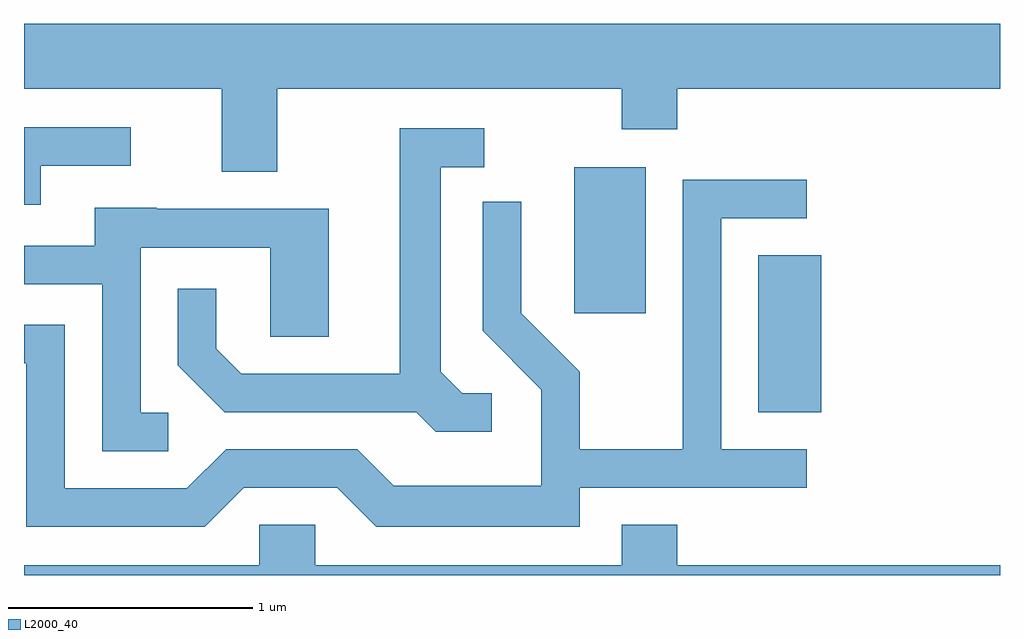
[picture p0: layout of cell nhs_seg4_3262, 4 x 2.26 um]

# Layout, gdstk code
import gdstk
lib = gdstk.Library(unit=1e-6, precision=1e-09)
def R(c, l, rs):  # rectangles x0, y0, x1, y1
    for r in rs: c.add(gdstk.rectangle(r[:2], r[2:], *l))
def P(c, l, *ps):  # polygons
    for p in ps: c.add(gdstk.Polygon(p, *l))
L2000_40 = (2000, 40)

nhs_seg4_3262 = lib.new_cell('nhs_seg4_3262')
R(nhs_seg4_3262, L2000_40, [(282.621,1386.651,282.879,1387.294), (281.866,1387.056,282.159,1387.654)])
P(nhs_seg4_3262, L2000_40, [(280.649,1387.976),(282.061,1387.976),(282.061,1387.811),(282.289,1387.811),(282.289,1387.976),(283.611,1387.976),(283.611,1388.244),(279.611,1388.244),(279.611,1387.976),(280.421,1387.976),(280.421,1387.636),(280.649,1387.636)],
  [(279.679,1387.661),(280.048,1387.661),(280.048,1387.819),(279.611,1387.819),(279.611,1387.501),(279.679,1387.501)],
  [(281.528,1386.729),(281.407,1386.729),(281.319,1386.817),(281.319,1387.656),(281.498,1387.656),(281.498,1387.814),(281.151,1387.814),(281.151,1386.809),(280.502,1386.809),(280.399,1386.912),(280.399,1387.158),(280.241,1387.158),(280.241,1386.844),(280.434,1386.651),(281.219,1386.651),(281.299,1386.571),(281.528,1386.571)],
  [(280.512,1386.341),(280.894,1386.341),(281.054,1386.181),(281.889,1386.181),(281.889,1386.341),(282.818,1386.341),(282.818,1386.499),(282.469,1386.499),(282.469,1387.446),(282.818,1387.446),(282.818,1387.604),(282.311,1387.604),(282.311,1386.499),(281.889,1386.499),(281.889,1386.817),(281.649,1387.057),(281.649,1387.513),(281.491,1387.513),(281.491,1386.984),(281.731,1386.744),(281.731,1386.349),(281.127,1386.349),(280.977,1386.499),(280.439,1386.499),(280.279,1386.339),(279.779,1386.339),(279.779,1387.009),(279.611,1387.009),(279.611,1386.851),(279.621,1386.851),(279.621,1386.181),(280.352,1386.181)],
  [(280.203,1386.649),(280.089,1386.649),(280.089,1387.326),(280.621,1387.326),(280.621,1386.961),(280.859,1386.961),(280.859,1387.484),(280.155,1387.484),(280.155,1387.489),(279.901,1387.489),(279.901,1387.334),(279.611,1387.334),(279.611,1387.176),(279.931,1387.176),(279.931,1386.491),(280.203,1386.491)],
  [(283.611,1386.024),(282.289,1386.024),(282.289,1386.189),(282.061,1386.189),(282.061,1386.024),(280.804,1386.024),(280.804,1386.189),(280.576,1386.189),(280.576,1386.024),(279.611,1386.024),(279.611,1385.982),(283.611,1385.982)])

lib.write_gds('nhs_seg4_3262.gds')
